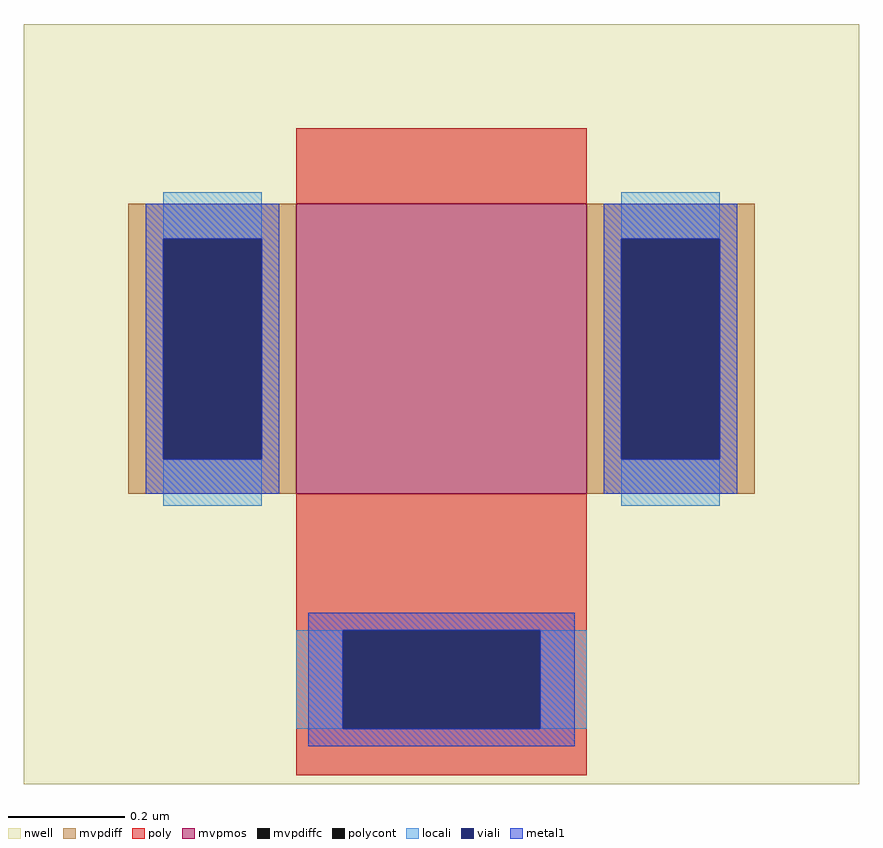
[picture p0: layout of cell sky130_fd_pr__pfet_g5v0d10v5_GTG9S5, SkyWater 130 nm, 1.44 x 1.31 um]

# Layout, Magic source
magic
tech sky130A
magscale 1 2
<< nwell >>
rect -144 -114 144 148
<< mvpmos >>
rect -50 -14 50 86
<< mvpdiff >>
rect -108 74 -50 86
rect -108 -2 -96 74
rect -62 -2 -50 74
rect -108 -14 -50 -2
rect 50 74 108 86
rect 50 -2 62 74
rect 96 -2 108 74
rect 50 -14 108 -2
<< mvpdiffc >>
rect -96 -2 -62 74
rect 62 -2 96 74
<< poly >>
rect -50 86 50 112
rect -50 -61 50 -14
rect -50 -95 -34 -61
rect 34 -95 50 -61
rect -50 -111 50 -95
<< polycont >>
rect -34 -95 34 -61
<< locali >>
rect -96 74 -62 90
rect -96 -18 -62 -2
rect 62 74 96 90
rect 62 -18 96 -2
rect -50 -95 -34 -61
rect 34 -95 50 -61
<< viali >>
rect -96 -2 -62 74
rect 62 -2 96 74
rect -34 -95 34 -61
<< metal1 >>
rect -102 74 -56 86
rect -102 -2 -96 74
rect -62 -2 -56 74
rect -102 -14 -56 -2
rect 56 74 102 86
rect 56 -2 62 74
rect 96 -2 102 74
rect 56 -14 102 -2
rect -46 -61 46 -55
rect -46 -95 -34 -61
rect 34 -95 46 -61
rect -46 -101 46 -95
<< properties >>
string gencell sky130_fd_pr__pfet_g5v0d10v5
string library sky130
string parameters w 0.5 l 0.5 m 1 nf 1 diffcov 100 polycov 100 guard 0 glc 1 grc 1 gtc 1 gbc 1 tbcov 100 rlcov 100 topc 0 botc 1 poverlap 0 doverlap 1 lmin 0.50 wmin 0.42 compatible {sky130_fd_pr__pfet_01v8  sky130_fd_pr__pfet_01v8_lvt sky130_fd_pr__pfet_01v8_hvt  sky130_fd_pr__pfet_g5v0d10v5} full_metal 1 viasrc 100 viadrn 100 viagate 100 viagb 0 viagr 0 viagl 0 viagt 0
<< end >>
